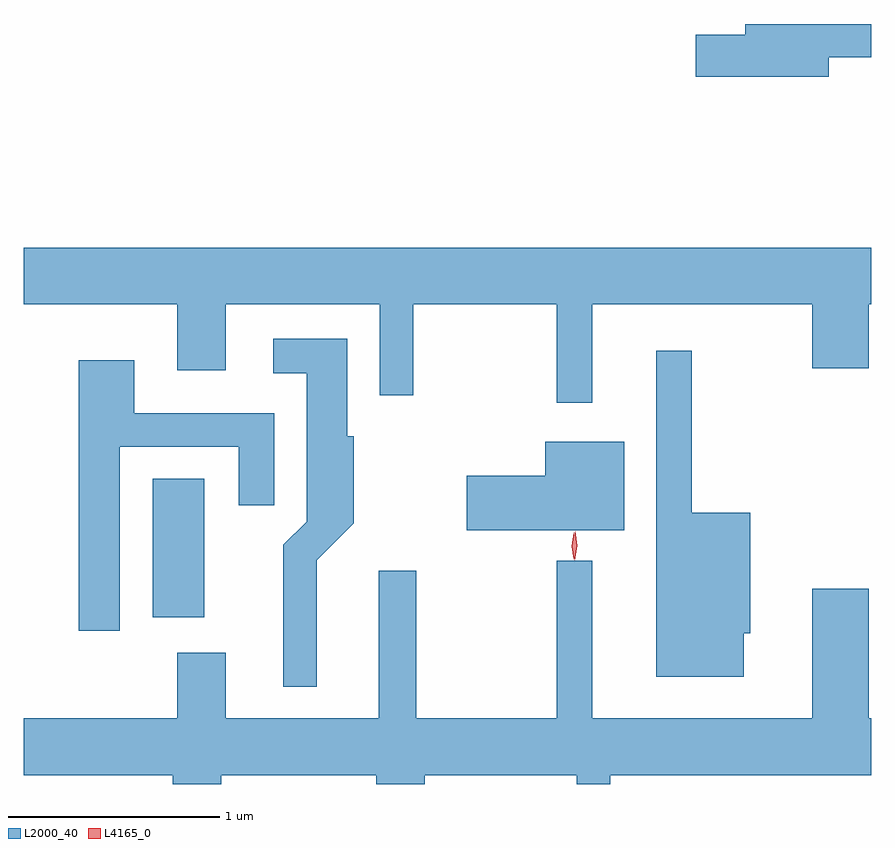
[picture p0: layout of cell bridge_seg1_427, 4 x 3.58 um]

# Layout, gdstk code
import gdstk
lib = gdstk.Library(unit=1e-6, precision=1e-09)
def R(c, l, rs):  # rectangles x0, y0, x1, y1
    for r in rs: c.add(gdstk.rectangle(r[:2], r[2:], *l))
def P(c, l, *ps):  # polygons
    for p in ps: c.add(gdstk.Polygon(p, *l))
L2000_40 = (2000, 40)
L4165_0 = (4165, 0)

bridge_seg1_427 = lib.new_cell('bridge_seg1_427')
R(bridge_seg1_427, L2000_40, [(231.946,858.141,232.189,858.794)])
P(bridge_seg1_427, L2000_40, [(235.134,860.781),(235.336,860.781),(235.336,860.939),(234.741,860.939),(234.741,860.889),(234.506,860.889),(234.506,860.691),(235.134,860.691)],
  [(234.019,859.616),(235.056,859.616),(235.056,859.316),(235.324,859.316),(235.324,859.616),(235.336,859.616),(235.336,859.884),(231.336,859.884),(231.336,859.616),(232.061,859.616),(232.061,859.306),(232.289,859.306),(232.289,859.616),(233.016,859.616),(233.016,859.188),(233.174,859.188),(233.174,859.616),(233.851,859.616),(233.851,859.153),(234.019,859.153)],
  [(232.719,858.409),(232.894,858.584),(232.894,858.994),(232.864,858.994),(232.864,859.454),(232.513,859.454),(232.513,859.291),(232.671,859.291),(232.671,858.592),(232.561,858.482),(232.561,857.813),(232.719,857.813)],
  [(234.734,858.066),(234.764,858.066),(234.764,858.634),(234.489,858.634),(234.489,859.398),(234.321,859.398),(234.321,857.861),(234.734,857.861)],
  [(231.789,858.946),(232.351,858.946),(232.351,858.668),(232.519,858.668),(232.519,859.104),(231.859,859.104),(231.859,859.354),(231.596,859.354),(231.596,858.076),(231.789,858.076)],
  [(234.169,858.969),(233.796,858.969),(233.796,858.809),(233.426,858.809),(233.426,858.551),(234.169,858.551)],
  [(232.269,857.396),(233.001,857.396),(233.001,857.354),(233.229,857.354),(233.229,857.396),(233.946,857.396),(233.946,857.354),(234.104,857.354),(234.104,857.396),(235.336,857.396),(235.336,857.664),(235.324,857.664),(235.324,858.274),(235.056,858.274),(235.056,857.664),(234.019,857.664),(234.019,858.408),(233.851,858.408),(233.851,857.664),(233.189,857.664),(233.189,858.359),(233.011,858.359),(233.011,857.664),(232.289,857.664),(232.289,857.974),(232.061,857.974),(232.061,857.664),(231.336,857.664),(231.336,857.396),(232.041,857.396),(232.041,857.354),(232.269,857.354)])
P(bridge_seg1_427, L4165_0, [(233.931,858.413),(233.922,858.476),(233.931,858.539),(233.932,858.54),(233.932,858.539),(233.942,858.476),(233.932,858.413),(233.932,858.413)],
  [(233.936,858.41),(233.927,858.478),(233.938,858.546),(233.938,858.546),(233.939,858.546),(233.947,858.478),(233.937,858.41),(233.937,858.41)])

lib.write_gds('bridge_seg1_427.gds')
